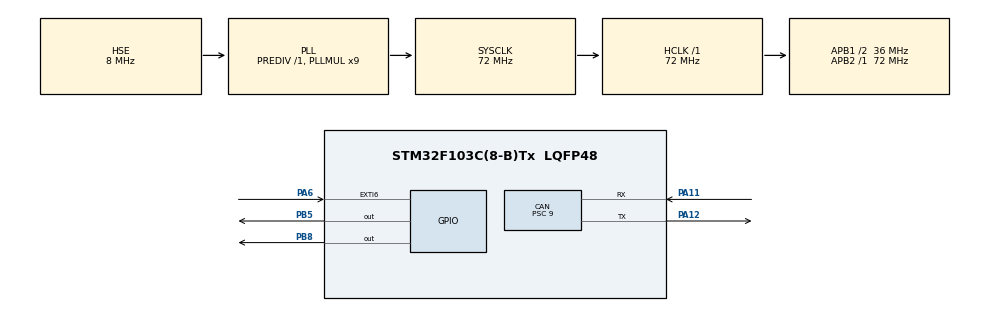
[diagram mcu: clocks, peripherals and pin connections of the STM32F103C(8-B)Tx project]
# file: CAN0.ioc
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CAN.ABOM=DISABLE
CAN.AWUM=DISABLE
CAN.BS1=CAN_BS1_5TQ
CAN.BS2=CAN_BS2_2TQ
CAN.CalculateBaudRate=500000
CAN.CalculateTimeBit=2000
CAN.CalculateTimeQuantum=250.0
CAN.Mode=CAN_MODE_NORMAL
CAN.NART=DISABLE
CAN.Prescaler=9
Mcu.Family=STM32F1
Mcu.Name=STM32F103C(8-B)Tx
Mcu.Package=LQFP48
NVIC.EXTI9_5_IRQn=true\:0\:0\:true\:false\:true\:true\:true\:true
NVIC.PriorityGroup=NVIC_PRIORITYGROUP_4
NVIC.USB_LP_CAN1_RX0_IRQn=true\:0\:0\:false\:false\:true\:true\:true\:true
PA11.Mode=CAN_Activate
PA11.Signal=CAN_RX
PA12.Mode=CAN_Activate
PA12.Signal=CAN_TX
PA13.Mode=Serial_Wire
PA13.Signal=SYS_JTMS-SWDIO
PA14.Mode=Serial_Wire
PA14.Signal=SYS_JTCK-SWCLK
PA6.GPIO_ModeDefaultEXTI=GPIO_MODE_IT_FALLING
PA6.GPIO_PuPd=GPIO_PULLUP
PA6.Signal=GPXTI6
PB5.GPIO_Speed=GPIO_SPEED_FREQ_HIGH
PB5.PinState=GPIO_PIN_RESET
PB5.Signal=GPIO_Output
PB8.GPIO_Speed=GPIO_SPEED_FREQ_HIGH
PB8.PinState=GPIO_PIN_RESET
PB8.Signal=GPIO_Output
PD0-OSC_IN.Mode=HSE-External-Oscillator
PD0-OSC_IN.Signal=RCC_OSC_IN
PD1-OSC_OUT.Mode=HSE-External-Oscillator
PD1-OSC_OUT.Signal=RCC_OSC_OUT
ProjectManager.HeapSize=0x200
ProjectManager.StackSize=0x400
ProjectManager.TargetToolchain=MDK-ARM V5.32
RCC.AHBFreq_Value=72000000
RCC.APB1CLKDivider=RCC_HCLK_DIV2
RCC.APB1Freq_Value=36000000
RCC.APB1TimFreq_Value=72000000
RCC.APB2Freq_Value=72000000
RCC.APB2TimFreq_Value=72000000
RCC.HCLKFreq_Value=72000000
RCC.PLLMUL=RCC_PLL_MUL9
RCC.PLLSourceVirtual=RCC_PLLSOURCE_HSE
RCC.SYSCLKFreq_VALUE=72000000
RCC.SYSCLKSource=RCC_SYSCLKSOURCE_PLLCLK
RCC.USBFreq_Value=72000000
board=custom

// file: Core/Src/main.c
/* USER CODE BEGIN Header */
/**
  ******************************************************************************
  * @file           : main.c
  * @brief          : Main program body
  ******************************************************************************
  * @attention
  *
  * Copyright (c) 2026 STMicroelectronics.
  * All rights reserved.
  *
  * This software is licensed under terms that can be found in the LICENSE file
  * in the root directory of this software component.
  * If no LICENSE file comes with this software, it is provided AS-IS.
  *
  ******************************************************************************
  */
/* USER CODE END Header */
#include "main.h"
#include "can.h"
#include "gpio.h"

/* USER CODE BEGIN Includes */
#include "OLED.h"
#include <string.h>
/* USER CODE END Includes */

/* USER CODE BEGIN PV */
uint8_t rx_buf[2][8]={0};
uint8_t rx_len[2]={0};
volatile uint8_t rx_write_idx=0;
volatile uint8_t rx_ready=0;
volatile uint8_t key_pressed=0;
static uint8_t txdata[8]={0x01,0x02,0x03,0x04,0xFF,0xFE,0xFD,0xFC};
/* USER CODE END PV */

void SystemClock_Config(void);

int main(void)
{

  /* MCU Configuration--------------------------------------------------------*/

  /* Reset of all peripherals, Initializes the Flash interface and the Systick. */
  HAL_Init();

  /* Configure the system clock */
  SystemClock_Config();

  /* Initialize all configured peripherals */
  MX_GPIO_Init();
  MX_CAN_Init();
  /* USER CODE BEGIN 2 */
  HAL_Delay(100);
  OLED_Init();
  HAL_Delay(10);
  OLED_ShowString(1,1,"OK");
  /* USER CODE END 2 */

  /* Infinite loop */
  /* USER CODE BEGIN WHILE */
  while (1)
  {
	if(key_pressed)
	{
		key_pressed=0;
		if(HAL_GPIO_ReadPin(GPIOA, GPIO_PIN_6) == GPIO_PIN_RESET)
		{
			CAN_TxHeaderTypeDef t={0};
			t.StdId=0X001;
			t.RTR=CAN_RTR_DATA;
			t.IDE=CAN_ID_STD;
			t.DLC=8;
			t.TransmitGlobalTime=DISABLE;

			uint32_t txMailbox;//return which mailbox is being used

			HAL_CAN_AddTxMessage(&hcan,&t,txdata,&txMailbox);

			for(uint8_t i=0;i<8;i++)
			{
				txdata[i]++;
			}
		}
	}

	if(rx_ready)
	{
		uint8_t read_idx=rx_write_idx^1;
		for(uint8_t i=0;i<rx_len[read_idx];i++)
		{
			if((i+1)<3)
			{
				OLED_ShowHexNum(1,(3*i+1),rx_buf[read_idx][i],2);
			}
			else if((i+1)<5)
			{
				OLED_ShowHexNum(2,(3*(i-2)+1),rx_buf[read_idx][i],2);
			}
			else if((i+1)<7)
			{
				OLED_ShowHexNum(3,(3*(i-4)+1),rx_buf[read_idx][i],2);
			}
			else
			{
				OLED_ShowHexNum(4,(3*(i-6)+1),rx_buf[read_idx][i],2);
			}
		}
		rx_ready=0;
	}

  }
    /* USER CODE END WHILE */

}

void SystemClock_Config(void)
{
  RCC_OscInitTypeDef RCC_OscInitStruct = {0};
  RCC_ClkInitTypeDef RCC_ClkInitStruct = {0};

  /** Initializes the RCC Oscillators according to the specified parameters
  * in the RCC_OscInitTypeDef structure.
  */
  RCC_OscInitStruct.OscillatorType = RCC_OSCILLATORTYPE_HSE;
  RCC_OscInitStruct.HSEState = RCC_HSE_ON;
  RCC_OscInitStruct.HSEPredivValue = RCC_HSE_PREDIV_DIV1;
  RCC_OscInitStruct.HSIState = RCC_HSI_ON;
  RCC_OscInitStruct.PLL.PLLState = RCC_PLL_ON;
  RCC_OscInitStruct.PLL.PLLSource = RCC_PLLSOURCE_HSE;
  RCC_OscInitStruct.PLL.PLLMUL = RCC_PLL_MUL9;
  if (HAL_RCC_OscConfig(&RCC_OscInitStruct) != HAL_OK)
  {
    Error_Handler();
  }

  /** Initializes the CPU, AHB and APB buses clocks
  */
  RCC_ClkInitStruct.ClockType = RCC_CLOCKTYPE_HCLK|RCC_CLOCKTYPE_SYSCLK
                              |RCC_CLOCKTYPE_PCLK1|RCC_CLOCKTYPE_PCLK2;
  RCC_ClkInitStruct.SYSCLKSource = RCC_SYSCLKSOURCE_PLLCLK;
  RCC_ClkInitStruct.AHBCLKDivider = RCC_SYSCLK_DIV1;
  RCC_ClkInitStruct.APB1CLKDivider = RCC_HCLK_DIV2;
  RCC_ClkInitStruct.APB2CLKDivider = RCC_HCLK_DIV1;

  if (HAL_RCC_ClockConfig(&RCC_ClkInitStruct, FLASH_LATENCY_2) != HAL_OK)
  {
    Error_Handler();
  }
}

/* USER CODE BEGIN 4 */
void HAL_CAN_RxFifo0MsgPendingCallback(CAN_HandleTypeDef *hcan)
{
	CAN_RxHeaderTypeDef r;
	uint8_t rxdata[8];
	if(HAL_CAN_GetRxMessage(hcan,CAN_RX_FIFO0,&r,rxdata)!=HAL_OK)
	{
		Error_Handler();
	}

	if(r.StdId==0x001)
	{
		if(r.RTR==CAN_RTR_DATA)
		{
			uint8_t it_write_idx = rx_write_idx;
			memcpy(rx_buf[it_write_idx],rxdata,r.DLC);
			rx_len[it_write_idx]=r.DLC;
			rx_write_idx=it_write_idx^1;
			rx_ready=1;
		}
	}
}

void HAL_GPIO_EXTI_Callback(uint16_t GPIO_Pin)
{
	if(GPIO_Pin==GPIO_PIN_6)
	{
		//HAL_Delay(20);
		key_pressed=1;
		HAL_GPIO_TogglePin(GPIOB, GPIO_PIN_5);
	}
}
/* USER CODE END 4 */

void Error_Handler(void)
{
  /* USER CODE BEGIN Error_Handler_Debug */
  /* User can add his own implementation to report the HAL error return state */
  __disable_irq();
  while (1)
  {

      HAL_GPIO_TogglePin(GPIOB, GPIO_PIN_5);
      for(volatile uint32_t i = 0; i < 300000; i++);

  }
  /* USER CODE END Error_Handler_Debug */
}
